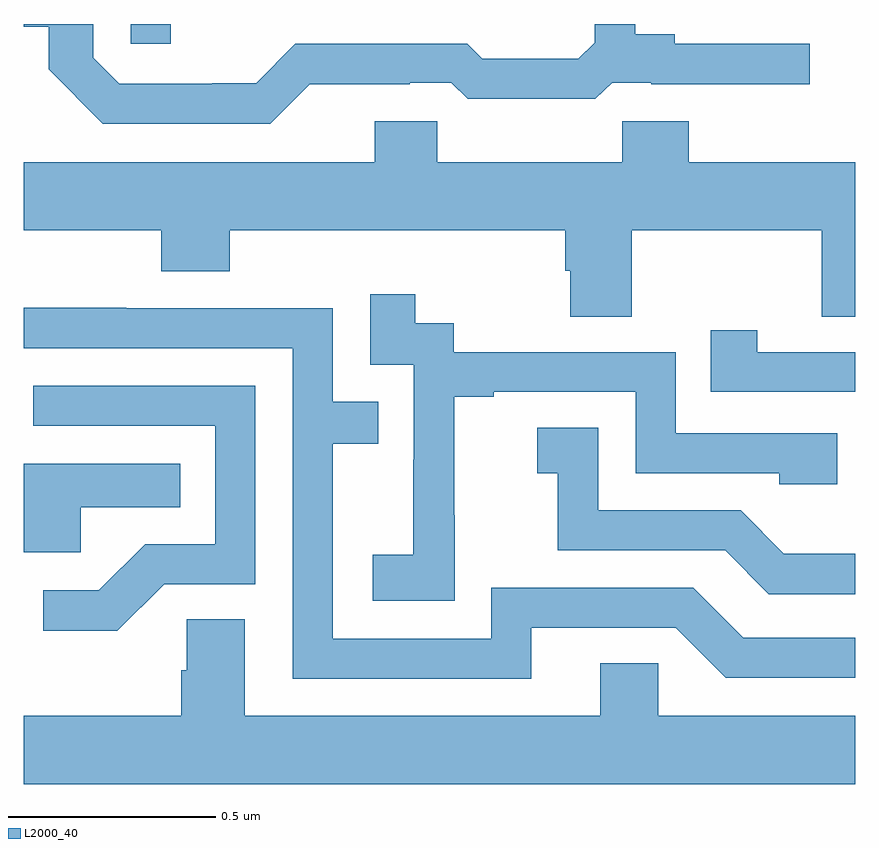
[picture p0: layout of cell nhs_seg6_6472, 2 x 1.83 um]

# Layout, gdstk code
import gdstk
lib = gdstk.Library(unit=1e-6, precision=1e-09)
def R(c, l, rs):  # rectangles x0, y0, x1, y1
    for r in rs: c.add(gdstk.rectangle(r[:2], r[2:], *l))
def P(c, l, *ps):  # polygons
    for p in ps: c.add(gdstk.Polygon(p, *l))
L2000_40 = (2000, 40)

nhs_seg6_6472 = lib.new_cell('nhs_seg6_6472')
R(nhs_seg6_6472, L2000_40, [(196.257,946.452,196.353,946.5)])
P(nhs_seg6_6472, L2000_40, [(196.688,946.355),(196.928,946.355),(196.928,946.359),(197.028,946.359),(197.068,946.32),(197.375,946.32),(197.415,946.359),(197.509,946.359),(197.509,946.355),(197.89,946.355),(197.89,946.452),(197.566,946.452),(197.566,946.475),(197.471,946.475),(197.471,946.5),(197.373,946.5),(197.373,946.455),(197.334,946.416),(197.103,946.416),(197.067,946.452),(196.653,946.452),(196.559,946.358),(196.454,946.358),(196.454,946.356),(196.23,946.356),(196.167,946.419),(196.167,946.5),(196,946.5),(196,946.493),(196.06,946.493),(196.06,946.391),(196.19,946.26),(196.593,946.26)],
  [(197.463,946.004),(197.92,946.004),(197.92,945.796),(198,945.796),(198,946.168),(197.6,946.168),(197.6,946.266),(197.44,946.266),(197.44,946.168),(196.995,946.168),(196.995,946.266),(196.844,946.266),(196.844,946.168),(196,946.168),(196,946.004),(196.331,946.004),(196.331,945.905),(196.496,945.905),(196.496,946.004),(197.303,946.004),(197.303,945.906),(197.315,945.906),(197.315,945.796),(197.463,945.796)],
  [(197.037,945.319),(197.036,945.319),(197.036,945.603),(197.131,945.603),(197.131,945.615),(197.472,945.615),(197.472,945.42),(197.817,945.42),(197.817,945.393),(197.957,945.393),(197.957,945.516),(197.568,945.516),(197.568,945.711),(197.034,945.711),(197.034,945.78),(196.942,945.78),(196.942,945.85),(196.833,945.85),(196.833,945.681),(196.938,945.681),(196.938,945.452),(196.937,945.452),(196.937,945.223),(196.839,945.223),(196.839,945.113),(197.037,945.113)],
  [(197.221,945.048),(197.568,945.048),(197.688,944.928),(198,944.928),(198,945.024),(197.73,945.024),(197.61,945.144),(197.124,945.144),(197.124,945.021),(196.743,945.021),(196.743,945.49),(196.853,945.49),(196.853,945.591),(196.743,945.591),(196.743,945.816),(196.247,945.816),(196.247,945.818),(196,945.818),(196,945.72),(196.647,945.72),(196.647,944.925),(197.221,944.925)],
  [(198,945.711),(197.764,945.711),(197.764,945.763),(197.653,945.763),(197.653,945.615),(198,945.615)],
  [(196.338,945.153),(196.557,945.153),(196.557,945.63),(196.023,945.63),(196.023,945.534),(196.461,945.534),(196.461,945.249),(196.292,945.249),(196.181,945.138),(196.047,945.138),(196.047,945.041),(196.225,945.041)],
  [(198,945.226),(197.828,945.226),(197.724,945.33),(197.382,945.33),(197.382,945.529),(197.235,945.529),(197.235,945.419),(197.284,945.419),(197.284,945.234),(197.687,945.234),(197.792,945.129),(198,945.129)],
  [(196.137,945.338),(196.376,945.338),(196.376,945.442),(196,945.442),(196,945.23),(196.137,945.23)],
  [(196.392,945.068),(196.392,944.945),(196.379,944.945),(196.379,944.836),(196,944.836),(196,944.672),(198,944.672),(198,944.836),(197.526,944.836),(197.526,944.963),(197.387,944.963),(197.387,944.836),(196.531,944.836),(196.531,945.068)])

lib.write_gds('nhs_seg6_6472.gds')
